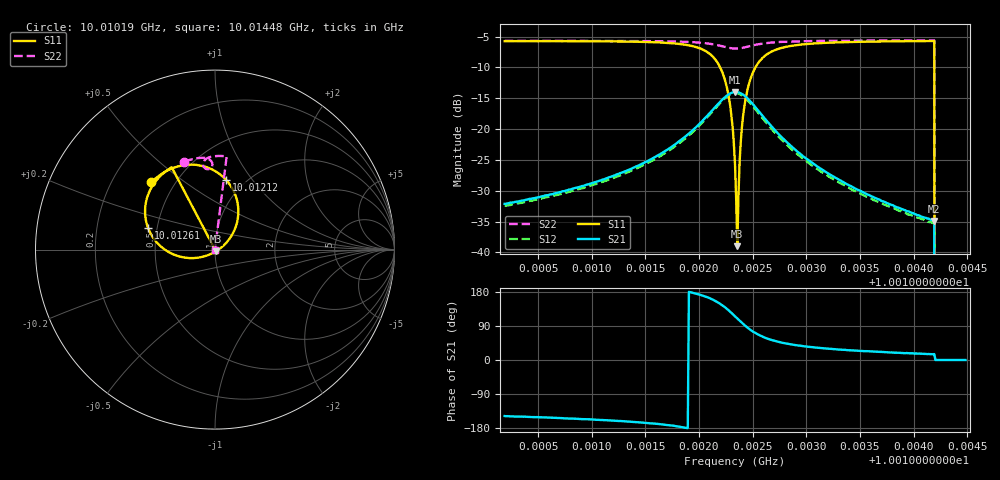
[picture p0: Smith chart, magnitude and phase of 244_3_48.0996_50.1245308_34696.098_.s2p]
#  HZ  S  RI  R  50.00
! Rohde & Schwarz Vector Network Analyzer
! Rohde-Schwarz,ZNB20-2Port,1311601062101988,3.16
! Created: UTC 12/23/2023, 3:59:06 AM
! freq[Hz]  re:S11  im:S11  re:S21  im:S21  re:S12  im:S12  re:S22  im:S22
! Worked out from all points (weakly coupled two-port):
!   401 points, 10.01019 GHz to 10.01448 GHz, reference 50 ohm
!   highest |S21| = -13.98 dB at 10.01234 GHz (marker M1); lowest = -34.9 dB at 10.01419 GHz (marker M2)
!   lowest |S11| = -39.0 dB at 10.01236 GHz (marker M3), VSWR 1.02, Z = 50.4 - j1.04 ohm
!   |S11| at or under -10 dB: 10.0122 GHz to 10.01253 GHz (328.2 kHz wide, 0.00328 % of centre); 10.01419 GHz to end of sweep
!   |S22| runs from - to -5.6 dB; largest |S21 - S12| = 0.0096
!   S11 on the Smith chart (normalised r, x): 10.01019 GHz: 0.37, +0.38; 10.01212 GHz: 0.82, +0.75; 10.01261 GHz: 0.44, +0.13; 10.01448 GHz: 1.00, +0.00
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1.0010189e10  -0.3557 0.3748  -0.021 -0.0132  -0.0196 -0.0136  -0.1705 0.4902
1.0010908e10  -0.2995 0.4204  -0.0315 -0.014  -0.0294 -0.015  -0.1232 0.5044
1.0011627e10  -0.1897 0.4675  -0.0607 -0.0117  -0.0577 -0.0144  -0.0688 0.5117
1.0011949e10  -0.0635 0.4644  -0.0991 0.00564  -0.096 -0.000149  -0.037 0.5056
1.0012121e10  0.0617 0.3883  -0.1328 0.0475  -0.1318 0.0392  -0.0183 0.4889
1.0012207e10  0.1216 0.2787  -0.1415 0.0939  -0.1427 0.0853  -0.0145 0.472
1.0012271e10  0.123 0.1519  -0.1279 0.1405  -0.1312 0.1319  -0.0204 0.4574
1.0012314e10  0.082 0.062  -0.1027 0.1696  -0.1067 0.1622  -0.0299 0.45
1.0012336e10  0.047 0.0219  -0.0853 0.181  -0.0902 0.1733  -0.036 0.4482
1.0012357e10  0.00438 -0.0103  -0.0663 0.1881  -0.0717 0.1811  -0.0421 0.4479
1.0012379e10  -0.0436 -0.0327  -0.047 0.1914  -0.0518 0.1849  -0.0482 0.4493
1.0012389e10  -0.0675 -0.0398  -0.0373 0.1916  -0.0416 0.1855  -0.0511 0.4504
1.0012411e10  -0.1181 -0.0472  -0.0177 0.1894  -0.0224 0.1834  -0.0561 0.4535
1.0012443e10  -0.1874 -0.041  0.00796 0.1806  0.0024 0.1746  -0.0619 0.4599
1.0012508e10  -0.2941 0.011  0.0429 0.1513  0.0367 0.1465  -0.0666 0.4742
1.0012615e10  -0.3738 0.1228  0.0627 0.1037  0.0564 0.1011  -0.061 0.4933
1.0013055e10  -0.3565 0.3417  0.0442 0.0297  0.0405 0.0301  -0.0188 0.5178
1.0013774e10  -0.2778 0.4336  0.023 0.00842  0.0216 0.00926  0.0363 0.5215
1.0014172e10  -0.2432 0.4577  0.0177 0.00488  0.0165 0.00547  0.0636 0.5196
1.0014193e10  -0.2414 0.4589  0.0173 0.00486  0.0161 0.0053  0.0651 0.5195
1.0014225e10  0 0  0 0  0 0  0 0
1.0014483e10  0 0  0 0  0 0  0 0
